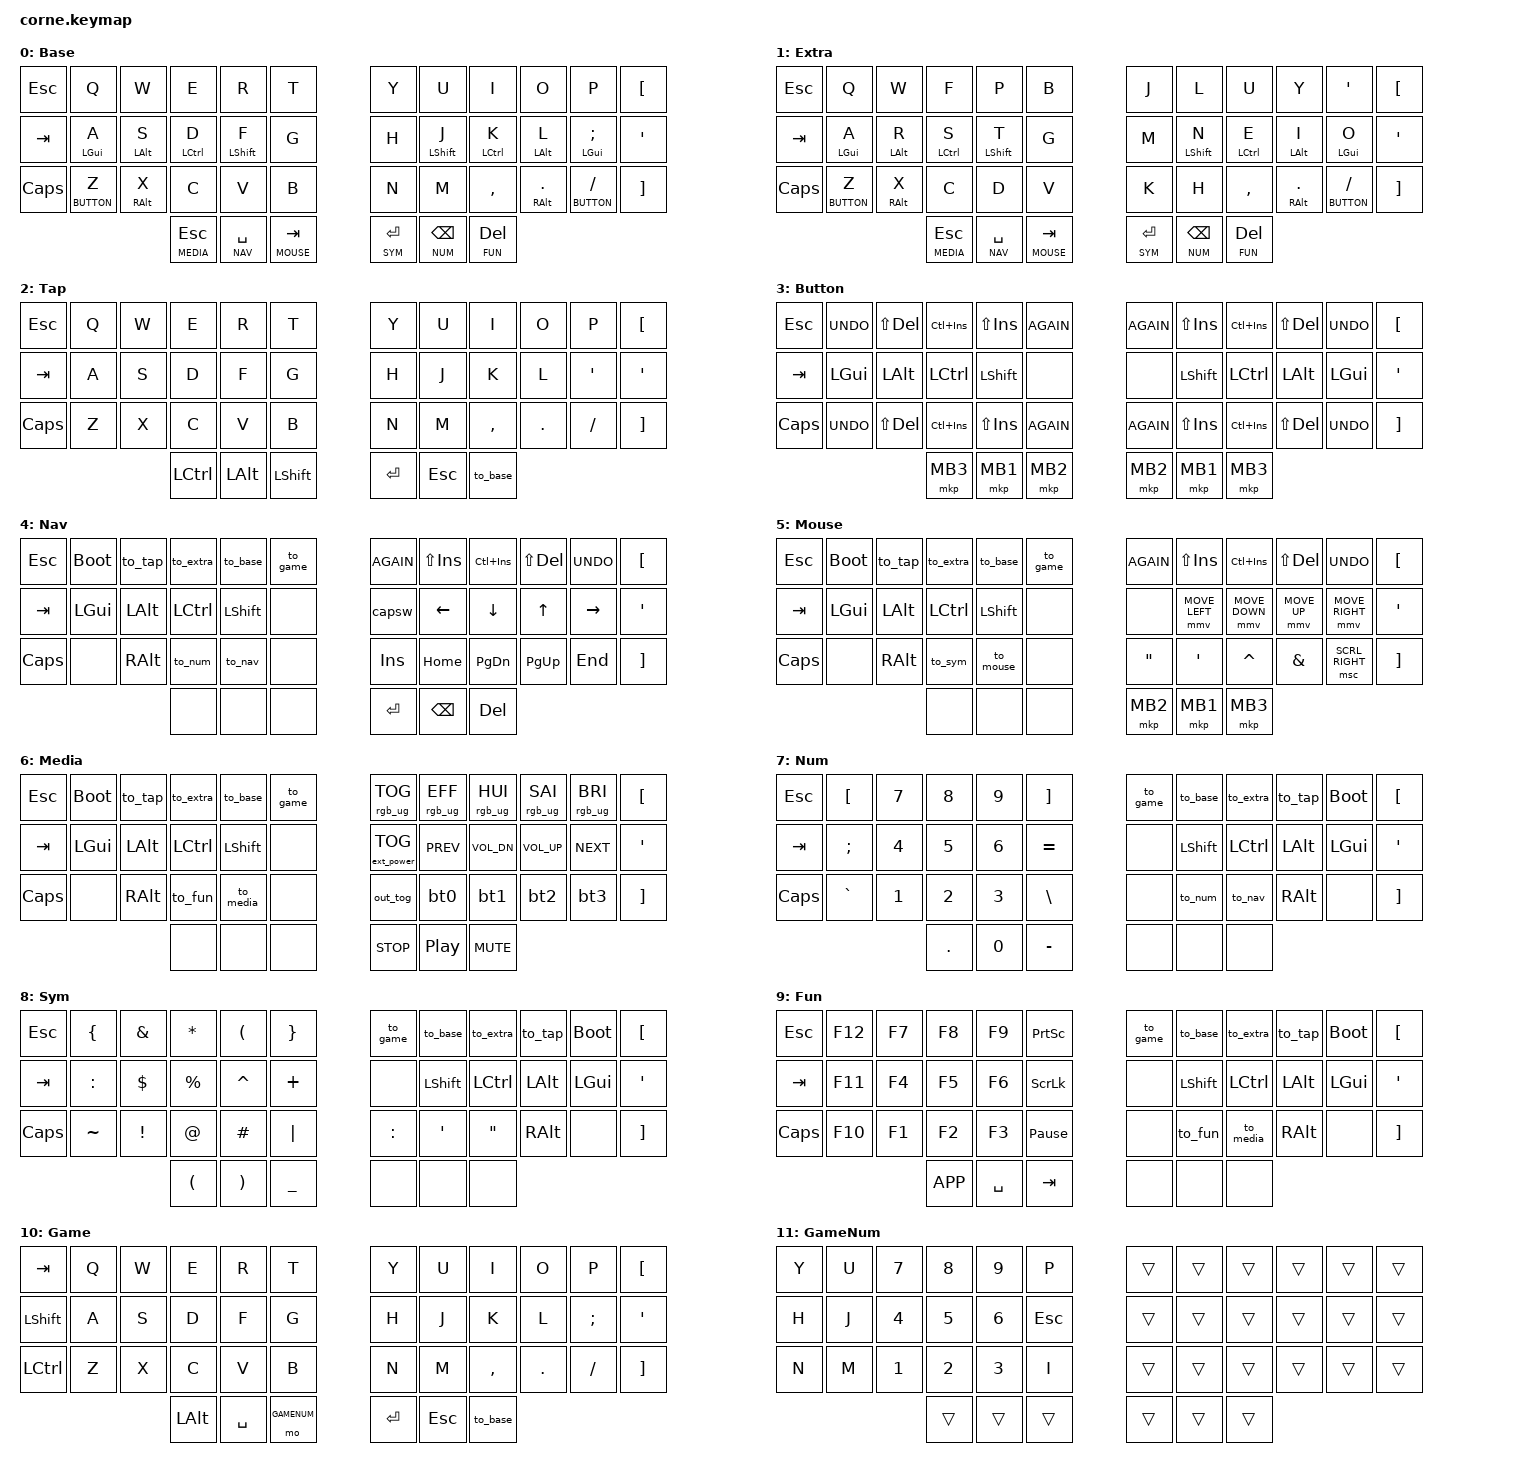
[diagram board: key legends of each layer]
/*
 * Chocofi — 42-key Corne-compatible split, nice!nano v2 + nice!view.
 *
 * Miryoku layer scheme, hand-written. Migrated off manna-harbour/miryoku_zmk
 * so the keymap file says what the keyboard does, with no generator in between.
 *
 * Layer order is Miryoku's own (Button sits at 3, between Tap and Nav).
 *
 *  ╭────────────────────────┬────────────────────────╮
 *  │  0   1   2   3   4   5 │  6   7   8   9  10  11 │
 *  │ 12  13  14  15  16  17 │ 18  19  20  21  22  23 │
 *  │ 24  25  26  27  28  29 │ 30  31  32  33  34  35 │
 *  ╰───────────╮ 36  37  38 │ 39  40  41 ╭───────────╯
 *              ╰────────────┴────────────╯
 */

#include <behaviors.dtsi>
#include <dt-bindings/zmk/keys.h>
#include <dt-bindings/zmk/bt.h>
#include <dt-bindings/zmk/outputs.h>
#include <dt-bindings/zmk/ext_power.h>
#include <dt-bindings/zmk/rgb.h>
#include <dt-bindings/zmk/pointing.h>

#include "zmk-helpers/helper.h"
#include "zmk-helpers/key-labels/42.h"

#define BASE   0
#define EXTRA  1
#define TAP    2
#define BUTTON 3
#define NAV    4
#define MOUSE  5
#define MEDIA  6
#define NUM    7
#define SYM    8
#define FUN    9
#define GAME   10
#define GAMENUM 11

/* ── Home row mods ────────────────────────────────────────────────────────
 *
 * Replaces Miryoku's single `u_mt` (tap-preferred, 200ms, nothing else),
 * whose problem was tap latency on the home row.
 *
 * Misfire protection here comes from the long tapping term plus the
 * positional rules — `hold-trigger-key-positions` restricted to the OTHER
 * hand (plus all thumbs), combined with `hold-trigger-on-release`.
 * `require-prior-idle-ms` is not what makes these safe; it only cuts the
 * delay while typing. Rule of thumb for it: 10500 / relaxed WPM.
 * 150 is a starting point — tune it.
 *
 * The key groups below are built from key-labels/42.h's position labels rather
 * than raw indices. zmk-helpers v0.3.0 ships the labels but not the groups —
 * those landed on its main branch after the release — so they are spelled out
 * here. Each hand is all 18 keys including the outer column.
 */

#define KEYS_L LT0 LT1 LT2 LT3 LT4 LT5  LM0 LM1 LM2 LM3 LM4 LM5  LB0 LB1 LB2 LB3 LB4 LB5
#define KEYS_R RT0 RT1 RT2 RT3 RT4 RT5  RM0 RM1 RM2 RM3 RM4 RM5  RB0 RB1 RB2 RB3 RB4 RB5
#define THUMBS LH0 LH1 LH2  RH0 RH1 RH2

ZMK_HOLD_TAP(hml,
    flavor = "balanced";
    tapping-term-ms = <280>;
    quick-tap-ms = <175>;
    require-prior-idle-ms = <150>;
    hold-trigger-key-positions = <KEYS_R THUMBS>;
    hold-trigger-on-release;
    bindings = <&kp>, <&kp>;
)

ZMK_HOLD_TAP(hmr,
    flavor = "balanced";
    tapping-term-ms = <280>;
    quick-tap-ms = <175>;
    require-prior-idle-ms = <150>;
    hold-trigger-key-positions = <KEYS_L THUMBS>;
    hold-trigger-on-release;
    bindings = <&kp>, <&kp>;
)

/* ── Layer taps ───────────────────────────────────────────────────────────
 *
 * Override ZMK's built-in &lt rather than defining a parallel behavior, so
 * the layers below read as plain `&lt NAV SPACE`.
 *
 * Deliberately NOT positional: every one of these layers puts something on
 * the same hand as the key that holds it (e.g. Nav's mods sit under the left
 * hand while the left thumb holds Nav), so a cross-hand rule would break them.
 *
 * "balanced" rather than Miryoku's "tap-preferred": the layer engages as soon
 * as another key is pressed and released, instead of waiting out the term.
 */
&lt {
    flavor = "balanced";
    tapping-term-ms = <200>;
    quick-tap-ms = <175>;
};

/* ── Base-layer switching ─────────────────────────────────────────────────
 *
 * Miryoku's double-tap guard, kept: a tap-dance whose first binding is
 * &none, so a single stray press does nothing and switching base layers
 * takes TWO taps.
 */
#define TO_GUARD(name, layer) \
    ZMK_TAP_DANCE(name, tapping-term-ms = <200>; bindings = <&none>, <&to layer>;)

TO_GUARD(to_base,  BASE)
TO_GUARD(to_extra, EXTRA)
TO_GUARD(to_tap,   TAP)
TO_GUARD(to_nav,   NAV)
TO_GUARD(to_mouse, MOUSE)
TO_GUARD(to_media, MEDIA)
TO_GUARD(to_num,   NUM)
TO_GUARD(to_sym,   SYM)
TO_GUARD(to_fun,   FUN)
TO_GUARD(to_game,  GAME)

#undef TO_GUARD

/* ── Shift-morphs carried over from Miryoku ───────────────────────────── */

// tap: caps word | shift + tap: caps lock
ZMK_MOD_MORPH(capsw,
    bindings = <&caps_word>, <&kp CAPS>;
    mods = <(MOD_LSFT|MOD_RSFT)>;
)

// tap: toggle BLE/USB output | shift + tap: force USB
ZMK_MOD_MORPH(out_tog,
    bindings = <&out OUT_TOG>, <&out OUT_USB>;
    mods = <(MOD_LSFT|MOD_RSFT)>;
)

// tap: select BLE profile | shift + tap: select and clear its pairing
#define BT_PROFILE(name, n) \
    ZMK_MACRO(name##_clr, wait-ms = <0>; bindings = <&bt BT_SEL n &bt BT_CLR>;) \
    ZMK_MOD_MORPH(name, \
        bindings = <&bt BT_SEL n>, <&name##_clr>; \
        mods = <(MOD_LSFT|MOD_RSFT)>; \
    )

BT_PROFILE(bt0, 0)
BT_PROFILE(bt1, 1)
BT_PROFILE(bt2, 2)
BT_PROFILE(bt3, 3)

#undef BT_PROFILE

/* ── Shorthands used in the layers below ──────────────────────────────── */

#define XXX &none

// Clipboard (Linux/macOS set — Miryoku's default, not the _WIN variant)
#define U_CUT  &kp LS(DEL)
#define U_COPY &kp LC(INS)
#define U_PSTE &kp LS(INS)
#define U_UNDO &kp K_UNDO
#define U_REDO &kp K_AGAIN

// Outer columns. Physically present on this board and hardcoded across every
// layer, exactly as the fork had them.
#define OUTER_L1 &kp ESC
#define OUTER_L2 &kp TAB
#define OUTER_L3 &kp CAPS
#define OUTER_R1 &kp LBKT
#define OUTER_R2 &kp SQT
#define OUTER_R3 &kp RBKT

/ {
    keymap {
        compatible = "zmk,keymap";

/* ╭─────────────────────────────────────────────────────────────────────────╮
   │ BASE — QWERTY                                                           │
   ╰─────────────────────────────────────────────────────────────────────────╯ */
        base_layer {
            display-name = "Base";
            bindings = <
 OUTER_L1  &kp Q         &kp W         &kp E          &kp R          &kp T       &kp Y   &kp U          &kp I          &kp O           &kp P              OUTER_R1
 OUTER_L2  &hml LGUI A   &hml LALT S   &hml LCTRL D   &hml LSHFT F   &kp G       &kp H   &hmr LSHFT J   &hmr LCTRL K   &hmr LALT L     &hmr LGUI SEMI     OUTER_R2
 OUTER_L3  &lt BUTTON Z  &hml RALT X   &kp C          &kp V          &kp B       &kp N   &kp M          &kp COMMA      &hmr RALT DOT   &lt BUTTON SLASH   OUTER_R3
                                       &lt MEDIA ESC  &lt NAV SPACE  &lt MOUSE TAB   &lt SYM RET  &lt NUM BSPC  &lt FUN DEL
            >;
        };

/* ╭─────────────────────────────────────────────────────────────────────────╮
   │ EXTRA — Colemak-DH, same thumbs and mods as Base                        │
   ╰─────────────────────────────────────────────────────────────────────────╯ */
        extra_layer {
            display-name = "Extra";
            bindings = <
 OUTER_L1  &kp Q         &kp W         &kp F          &kp P          &kp B       &kp J   &kp L          &kp U          &kp Y           &kp SQT            OUTER_R1
 OUTER_L2  &hml LGUI A   &hml LALT R   &hml LCTRL S   &hml LSHFT T   &kp G       &kp M   &hmr LSHFT N   &hmr LCTRL E   &hmr LALT I     &hmr LGUI O        OUTER_R2
 OUTER_L3  &lt BUTTON Z  &hml RALT X   &kp C          &kp D          &kp V       &kp K   &kp H          &kp COMMA      &hmr RALT DOT   &lt BUTTON SLASH   OUTER_R3
                                       &lt MEDIA ESC  &lt NAV SPACE  &lt MOUSE TAB   &lt SYM RET  &lt NUM BSPC  &lt FUN DEL
            >;
        };

/* ╭─────────────────────────────────────────────────────────────────────────╮
   │ TAP — no hold-taps anywhere. Outer right thumb is the only way back.    │
   ╰─────────────────────────────────────────────────────────────────────────╯ */
        tap_layer {
            display-name = "Tap";
            bindings = <
 OUTER_L1  &kp Q       &kp W      &kp E       &kp R       &kp T       &kp Y      &kp U    &kp I      &kp O     &kp P       OUTER_R1
 OUTER_L2  &kp A       &kp S      &kp D       &kp F       &kp G       &kp H      &kp J    &kp K      &kp L     &kp SQT     OUTER_R2
 OUTER_L3  &kp Z       &kp X      &kp C       &kp V       &kp B       &kp N      &kp M    &kp COMMA  &kp DOT   &kp SLASH   OUTER_R3
                                  &kp LCTRL   &kp LALT    &kp LSHFT       &kp RET    &kp ESC   &to_base
            >;
        };

/* ╭─────────────────────────────────────────────────────────────────────────╮
   │ BUTTON — clipboard under both hands, mouse buttons on the thumbs        │
   ╰─────────────────────────────────────────────────────────────────────────╯ */
        button_layer {
            display-name = "Button";
            bindings = <
 OUTER_L1  U_UNDO     U_CUT      U_COPY     U_PSTE     U_REDO      U_REDO   U_PSTE     U_COPY     U_CUT      U_UNDO     OUTER_R1
 OUTER_L2  &kp LGUI   &kp LALT   &kp LCTRL  &kp LSHFT  XXX         XXX      &kp LSHFT  &kp LCTRL  &kp LALT   &kp LGUI   OUTER_R2
 OUTER_L3  U_UNDO     U_CUT      U_COPY     U_PSTE     U_REDO      U_REDO   U_PSTE     U_COPY     U_CUT      U_UNDO     OUTER_R3
                                 &mkp MB3   &mkp MB1   &mkp MB2        &mkp MB2   &mkp MB1   &mkp MB3
            >;
        };

/* ╭─────────────────────────────────────────────────────────────────────────╮
   │ NAV — arrows and clipboard right, mods left, base switching on top row  │
   ╰─────────────────────────────────────────────────────────────────────────╯ */
        nav_layer {
            display-name = "Nav";
            bindings = <
 OUTER_L1  &bootloader  &to_tap    &to_extra  &to_base   &to_game   U_REDO    U_PSTE     U_COPY     U_CUT      U_UNDO     OUTER_R1
 OUTER_L2  &kp LGUI     &kp LALT   &kp LCTRL  &kp LSHFT  XXX        &capsw    &kp LEFT   &kp DOWN   &kp UP     &kp RIGHT  OUTER_R2
 OUTER_L3  XXX          &kp RALT   &to_num    &to_nav    XXX        &kp INS   &kp HOME   &kp PG_DN  &kp PG_UP  &kp END    OUTER_R3
                                   XXX        XXX        XXX            &kp RET    &kp BSPC   &kp DEL
            >;
        };

/* ╭─────────────────────────────────────────────────────────────────────────╮
   │ MOUSE — pointer on the right home row, mouse buttons on the thumbs      │
   ╰─────────────────────────────────────────────────────────────────────────╯ */
        mouse_layer {
            display-name = "Mouse";
            bindings = <
 OUTER_L1  &bootloader  &to_tap    &to_extra  &to_base   &to_game  U_REDO      U_PSTE            U_COPY            U_CUT           U_UNDO             OUTER_R1
 OUTER_L2  &kp LGUI     &kp LALT   &kp LCTRL  &kp LSHFT  XXX     XXX         &mmv MOVE_LEFT    &mmv MOVE_DOWN    &mmv MOVE_UP    &mmv MOVE_RIGHT    OUTER_R2
 OUTER_L3  XXX          &kp RALT   &to_sym    &to_mouse  XXX     &kp DQT     &kp SQT           &kp CARET         &kp AMPS        &msc SCRL_RIGHT    OUTER_R3
                                   XXX        XXX        XXX         &mkp MB2   &mkp MB1   &mkp MB3
            >;
        };

/* ╭─────────────────────────────────────────────────────────────────────────╮
   │ MEDIA — volume and transport right, BLE profiles on the bottom row      │
   ╰─────────────────────────────────────────────────────────────────────────╯ */
        media_layer {
            display-name = "Media";
            bindings = <
 OUTER_L1  &bootloader  &to_tap    &to_extra  &to_base   &to_game &rgb_ug RGB_TOG    &rgb_ug RGB_EFF  &rgb_ug RGB_HUI  &rgb_ug RGB_SAI  &rgb_ug RGB_BRI  OUTER_R1
 OUTER_L2  &kp LGUI     &kp LALT   &kp LCTRL  &kp LSHFT  XXX   &ext_power EP_TOG  &kp C_PREV       &kp C_VOL_DN     &kp C_VOL_UP     &kp C_NEXT       OUTER_R2
 OUTER_L3  XXX          &kp RALT   &to_fun    &to_media  XXX   &out_tog           &bt0             &bt1             &bt2             &bt3             OUTER_R3
                                   XXX        XXX        XXX       &kp C_STOP   &kp C_PP   &kp C_MUTE
            >;
        };

/* ╭─────────────────────────────────────────────────────────────────────────╮
   │ NUM — numpad under the left hand, mods right                            │
   ╰─────────────────────────────────────────────────────────────────────────╯ */
        num_layer {
            display-name = "Num";
            bindings = <
 OUTER_L1  &kp LBKT   &kp N7   &kp N8   &kp N9   &kp RBKT    &to_game  &to_base    &to_extra  &to_tap    &bootloader  OUTER_R1
 OUTER_L2  &kp SEMI   &kp N4   &kp N5   &kp N6   &kp EQUAL   XXX   &kp LSHFT   &kp LCTRL  &kp LALT   &kp LGUI     OUTER_R2
 OUTER_L3  &kp GRAVE  &kp N1   &kp N2   &kp N3   &kp BSLH    XXX   &to_num     &to_nav    &kp RALT   XXX          OUTER_R3
                               &kp DOT  &kp N0   &kp MINUS       XXX   XXX   XXX
            >;
        };

/* ╭─────────────────────────────────────────────────────────────────────────╮
   │ SYM — symbols under the left hand, mods right                           │
   ╰─────────────────────────────────────────────────────────────────────────╯ */
        sym_layer {
            display-name = "Sym";
            bindings = <
/* Right pinky column: the fork put `[` and `'` here, but both duplicate the
   outer column immediately to their right, and doing so cost the bootloader
   key and the GUI mod. Restored. */
 OUTER_L1  &kp LBRC   &kp AMPS   &kp ASTRK  &kp LPAR   &kp RBRC   &to_game   &to_base   &to_extra  &to_tap    &bootloader  OUTER_R1
 OUTER_L2  &kp COLON  &kp DLLR   &kp PRCNT  &kp CARET  &kp PLUS   XXX        &kp LSHFT  &kp LCTRL  &kp LALT   &kp LGUI     OUTER_R2
 OUTER_L3  &kp TILDE  &kp EXCL   &kp AT     &kp HASH   &kp PIPE   &kp COLON  &kp SQT    &kp DQT    &kp RALT   XXX        OUTER_R3
                                 &kp LPAR   &kp RPAR   &kp UNDER      XXX   XXX   XXX
            >;
        };

/* ╭─────────────────────────────────────────────────────────────────────────╮
   │ FUN — function keys under the left hand, mods right                     │
   ╰─────────────────────────────────────────────────────────────────────────╯ */
        fun_layer {
            display-name = "Fun";
            bindings = <
 OUTER_L1  &kp F12  &kp F7   &kp F8    &kp F9    &kp PSCRN         &to_game  &to_base   &to_extra  &to_tap    &bootloader  OUTER_R1
 OUTER_L2  &kp F11  &kp F4   &kp F5    &kp F6    &kp SLCK          XXX   &kp LSHFT  &kp LCTRL  &kp LALT   &kp LGUI     OUTER_R2
 OUTER_L3  &kp F10  &kp F1   &kp F2    &kp F3    &kp PAUSE_BREAK   XXX   &to_fun    &to_media  &kp RALT   XXX          OUTER_R3
                             &kp K_APP &kp SPACE &kp TAB               XXX   XXX   XXX
            >;
        };

/* ╭─────────────────────────────────────────────────────────────────────────╮
   │ GAME — left hand drives, no hold-taps anywhere so nothing can misfire   │
   │ mid-fight. Outer column is the usual gaming edge (TAB/SHIFT/CTRL) and   │
   │ carries no ESC; ESC is on the right thumb where the free hand can       │
   │ reach it. Right half stays QWERTY so you can type in chat.              │
   ╰─────────────────────────────────────────────────────────────────────────╯ */
        game_layer {
            display-name = "Game";
            bindings = <
 &kp TAB    &kp Q   &kp W   &kp E   &kp R   &kp T       &kp Y   &kp U   &kp I      &kp O     &kp P       OUTER_R1
 &kp LSHFT  &kp A   &kp S   &kp D   &kp F   &kp G       &kp H   &kp J   &kp K      &kp L     &kp SEMI    OUTER_R2
 &kp LCTRL  &kp Z   &kp X   &kp C   &kp V   &kp B       &kp N   &kp M   &kp COMMA  &kp DOT   &kp SLASH   OUTER_R3
                            &kp LALT  &kp SPACE  &mo GAMENUM      &kp RET   &kp ESC   &to_base
            >;
        };

/* ╭─────────────────────────────────────────────────────────────────────────╮
   │ GAMENUM — held from the left inner thumb. Calculator order on both      │
   │ hands, matching the Num layer.                                          │
   │                                                                          │
   │ Everything lives on the LEFT half: the mouse is in the right hand, so    │
   │ the right half is unreachable mid-game. 4 5 6 land on S D F — ring,      │
   │ middle, index — so the hand never moves. ESC sits on G, reachable by     │
   │ the index finger without letting go of the mouse.                        │
   │                                                                          │
   │ The right half is entirely &trans: it passes straight through to Game,   │
   │ so it behaves identically whether or not this layer is held.             │
   ╰─────────────────────────────────────────────────────────────────────────╯ */
        gamenum_layer {
            display-name = "GameNum";
            bindings = <
 &kp Y      &kp U   &kp N7  &kp N8  &kp N9  &kp P       &trans  &trans  &trans     &trans    &trans      &trans
 &kp H      &kp J   &kp N4  &kp N5  &kp N6  &kp ESC     &trans  &trans  &trans     &trans    &trans      &trans
 &kp N      &kp M   &kp N1  &kp N2  &kp N3  &kp I       &trans  &trans  &trans     &trans    &trans      &trans
                            &trans    &trans     &trans           &trans    &trans    &trans
            >;
        };
    };
};
